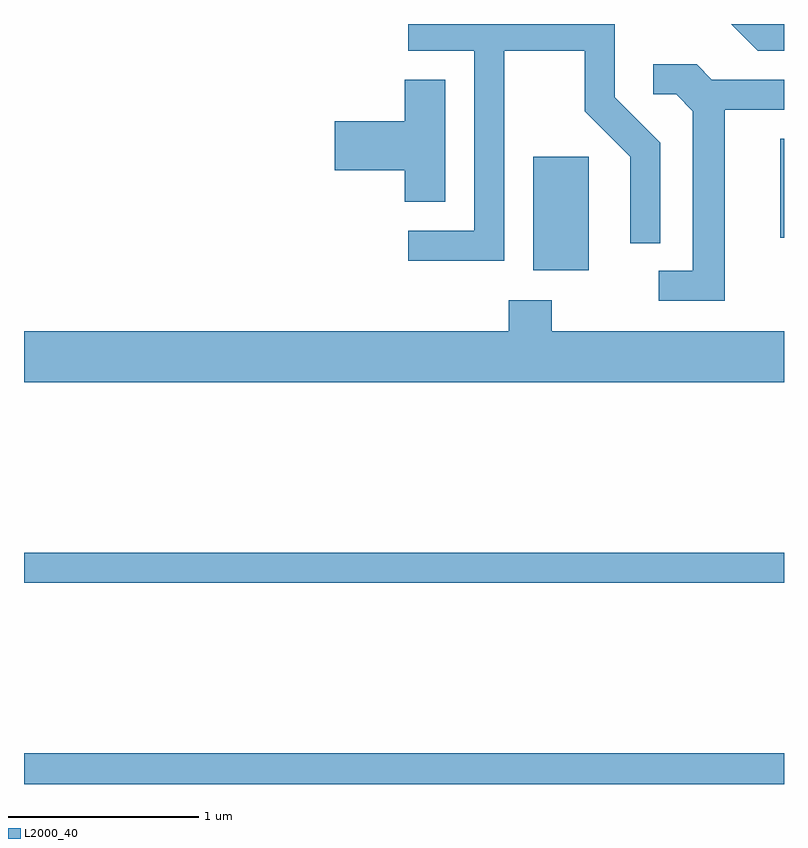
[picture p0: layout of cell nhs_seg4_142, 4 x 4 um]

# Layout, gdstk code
import gdstk
lib = gdstk.Library(unit=1e-6, precision=1e-09)
def R(c, l, rs):  # rectangles x0, y0, x1, y1
    for r in rs: c.add(gdstk.rectangle(r[:2], r[2:], *l))
def P(c, l, *ps):  # polygons
    for p in ps: c.add(gdstk.Polygon(p, *l))
L2000_40 = (2000, 40)

nhs_seg4_142 = lib.new_cell('nhs_seg4_142')
R(nhs_seg4_142, L2000_40, [(189.611,1265.982,193.611,1266.144), (189.611,1267.041,193.611,1267.199), (192.291,1268.686,192.584,1269.284), (193.591,1268.856,193.611,1269.379)])
P(nhs_seg4_142, L2000_40, [(192.139,1269.841),(192.561,1269.841),(192.561,1269.524),(192.801,1269.284),(192.801,1268.828),(192.959,1268.828),(192.959,1269.357),(192.719,1269.597),(192.719,1269.982),(191.633,1269.982),(191.633,1269.841),(191.981,1269.841),(191.981,1268.894),(191.633,1268.894),(191.633,1268.736),(192.139,1268.736)],
  [(193.611,1269.982),(193.333,1269.982),(193.474,1269.841),(193.611,1269.841)],
  [(193.299,1269.531),(193.611,1269.531),(193.611,1269.689),(193.232,1269.689),(193.152,1269.769),(192.923,1269.769),(192.923,1269.611),(193.044,1269.611),(193.131,1269.524),(193.131,1268.684),(192.953,1268.684),(192.953,1268.526),(193.299,1268.526)],
  [(191.829,1269.689),(191.616,1269.689),(191.616,1269.469),(191.246,1269.469),(191.246,1269.211),(191.616,1269.211),(191.616,1269.046),(191.829,1269.046)],
  [(193.611,1268.364),(192.389,1268.364),(192.389,1268.529),(192.161,1268.529),(192.161,1268.364),(189.611,1268.364),(189.611,1268.096),(193.611,1268.096)])

lib.write_gds('nhs_seg4_142.gds')
